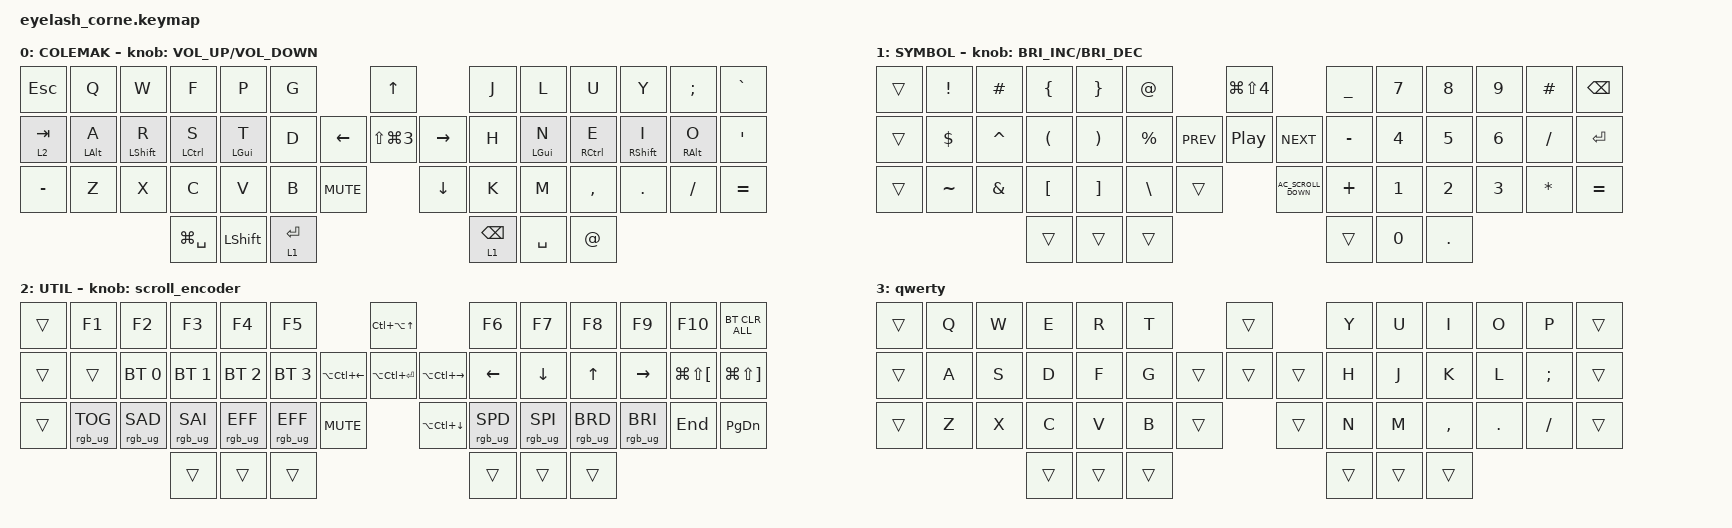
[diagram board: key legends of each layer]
#include <dt-bindings/zmk/mouse.h>
#include <input/processors.dtsi>
#include <behaviors.dtsi>
#include <dt-bindings/zmk/bt.h>
#include <dt-bindings/zmk/keys.h>
#include <dt-bindings/zmk/pointing.h>
#include <dt-bindings/zmk/rgb.h>

/*

   &mmv_input_listener {
       input-processors = <&zip_xy_scaler 2 1>;
   };

   &msc_input_listener {
       input-processors = <&zip_xy_scaler 2 1>;
   };

 */

#define ZMK_MOUSE_DEFAULT_MOVE_VAL 1200  // 600
#define ZMK_MOUSE_DEFAULT_SCRL_VAL 20    // 10

&lt { quick-tap-ms = <200>; };

/ {
    behaviors {
        td0: td0 {
            compatible = "zmk,behavior-tap-dance";
            display-name = "Shift/Caps Lock Tap Dance";
            #binding-cells = <0>;
            bindings = <&kp LEFT_SHIFT>, <&kp CAPS>;
        };

        hm: homerow_mods {
            compatible = "zmk,behavior-hold-tap";
            #binding-cells = <2>;
            tapping-term-ms = <175>;
            quick-tap-ms = <75>;
            flavor = "tap-preferred";
            bindings = <&kp>, <&kp>;

            require-prior-idle-ms = <125>;
        };
    };

    rgb_encoder: rgb_encoder {
        compatible = "zmk,behavior-sensor-rotate";
        #sensor-binding-cells = <0>;
        bindings = <&rgb_ug RGB_BRI>, <&rgb_ug RGB_BRD>;
    };

    scroll_encoder: scroll_encoder {
        compatible = "zmk,behavior-sensor-rotate";
        #sensor-binding-cells = <0>;
        bindings = <&msc SCRL_DOWN>, <&msc SCRL_UP>;

        tap-ms = <30>;
    };

    macros {
        alfred: alfred {
            compatible = "zmk,behavior-macro";
            #binding-cells = <0>;
            bindings = <&none>;
            label = "ALFRED";
        };
    };

    combos {
        compatible = "zmk,combos";

        qwerty {
            bindings = <&tog 3>;
            key-positions = <13 44 45 27>;
        };
    };

    keymap {
        compatible = "zmk,keymap";

        colemak {
            display-name = "COLEMAK";
            bindings = <
&kp ESCAPE  &kp Q           &kp W             &kp F          &kp P           &kp G                                &kp UP_ARROW                     &kp J            &kp L           &kp U        &kp Y              &kp SEMICOLON    &kp GRAVE
&lt 2 TAB   &hm LEFT_ALT A  &hm LEFT_SHIFT R  &hm LCTRL S    &hm LGUI T      &kp D                      &kp LEFT  &kp LS(LG(NUMBER_3))  &kp RIGHT  &kp H            &hm LEFT_GUI N  &hm RCTRL E  &hm RIGHT_SHIFT I  &hm RIGHT_ALT O  &kp SQT
&kp MINUS   &kp Z           &kp X             &kp C          &kp V           &kp B        &kp K_MUTE              &kp DOWN                         &kp K            &kp M           &kp COMMA    &kp DOT            &kp FSLH         &kp EQUAL
                                              &kp LG(SPACE)  &kp LEFT_SHIFT  &lt 1 ENTER                                                           &lt 1 BACKSPACE  &kp SPACE       &kp AT_SIGN
            >;

            sensor-bindings = <&inc_dec_kp C_VOLUME_UP C_VOLUME_DOWN>;
        };

        symbol {
            display-name = "SYMBOL";
            bindings = <
&trans  &kp EXCL    &kp HASH       &kp LEFT_BRACE        &kp RIGHT_BRACE        &kp AT                               &kp LG(LS(NUMBER_4))              &kp UNDER  &kp NUMBER_7  &kp NUMBER_8  &kp NUMBER_9  &kp POUND  &kp BACKSPACE
&trans  &kp DOLLAR  &kp CARET      &kp LEFT_PARENTHESIS  &kp RIGHT_PARENTHESIS  &kp PERCENT              &kp C_PREV  &kp C_PLAY_PAUSE      &kp C_NEXT  &kp MINUS  &kp NUMBER_4  &kp NUMBER_5  &kp NUMBER_6  &kp SLASH  &kp ENTER
&trans  &kp TILDE   &kp AMPERSAND  &kp LEFT_BRACKET      &kp RIGHT_BRACKET      &kp BACKSLASH  &trans                &kp C_AC_SCROLL_DOWN              &kp PLUS   &kp NUMBER_1  &kp NUMBER_2  &kp NUMBER_3  &kp STAR   &kp EQUAL
                                   &trans                &trans                 &trans                                                                 &trans     &kp NUMBER_0  &kp PERIOD
            >;

            sensor-bindings = <&inc_dec_kp C_BRIGHTNESS_INC C_BRIGHTNESS_DEC>;
        };

        util {
            display-name = "UTIL";
            bindings = <
&trans  &kp F1           &kp F2           &kp F3           &kp F4           &kp F5                                           &kp LC(LA(UP_ARROW))                     &kp F6           &kp F7           &kp F8           &kp F9           &kp F10                   &bt BT_CLR_ALL
&trans  &trans           &bt BT_SEL 0     &bt BT_SEL 1     &bt BT_SEL 2     &bt BT_SEL 3                   &kp LA(LC(LEFT))  &kp LA(LC(ENTER))     &kp LA(LC(RIGHT))  &kp LEFT         &kp DOWN         &kp UP           &kp RIGHT        &kp LG(LS(LEFT_BRACKET))  &kp LG(LS(RIGHT_BRACKET))
&trans  &rgb_ug RGB_TOG  &rgb_ug RGB_SAD  &rgb_ug RGB_SAI  &rgb_ug RGB_EFF  &rgb_ug RGB_EFF  &kp C_MUTE                      &kp LA(LC(DOWN))                         &rgb_ug RGB_SPD  &rgb_ug RGB_SPI  &rgb_ug RGB_BRD  &rgb_ug RGB_BRI  &kp END                   &kp PG_DN
                                          &trans           &trans           &trans                                                                                    &trans           &trans           &trans
            >;

            sensor-bindings = <&scroll_encoder>;
        };

        qwerty {
            bindings = <
&trans  &kp Q  &kp W  &kp E   &kp R   &kp T                     &trans          &kp Y   &kp U   &kp I      &kp O    &kp P     &trans
&trans  &kp A  &kp S  &kp D   &kp F   &kp G             &trans  &trans  &trans  &kp H   &kp J   &kp K      &kp L    &kp SEMI  &trans
&trans  &kp Z  &kp X  &kp C   &kp V   &kp B   &trans            &trans          &kp N   &kp M   &kp COMMA  &kp DOT  &kp FSLH  &trans
                      &trans  &trans  &trans                                    &trans  &trans  &trans
            >;
        };
    };
};
